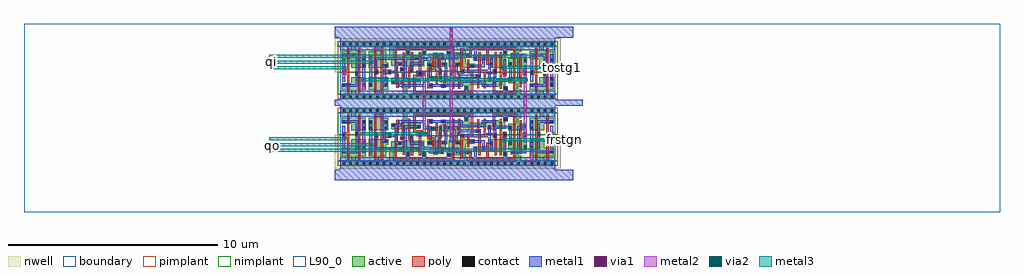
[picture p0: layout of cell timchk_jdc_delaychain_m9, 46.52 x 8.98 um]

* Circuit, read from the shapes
.subckt timchk_jdc_delaychain_m9 VDD VSS clk di do frstgn qi qo rstL tostg1
M1 VSS rstL n1 VSS nfet w=0.3u l=0.1u
M2 VSS clk n2 VSS nfet w=0.3u l=0.1u
M3 DFCSND1_delaychain_m9_4/CDN n1 VSS VSS nfet w=0.6u l=0.1u
M4 DFCSND1_delaychain_m9_4/CP n2 VSS VSS nfet w=0.6u l=0.1u
M5 VSS n3 qo VSS nfet w=0.6u l=0.1u
M6 VSS n4 qi VSS nfet w=0.6u l=0.1u
M7 DFCSND1_delaychain_m9_5/QN n5 VSS VSS nfet w=0.6u l=0.1u
M8 DFCSND1_delaychain_m9_4/QN n6 VSS VSS nfet w=0.6u l=0.1u
M9 n7 DFCSND1_delaychain_m9_4/SDN n5 VSS nfet w=0.3u l=0.1u
M10 n8 DFCSND1_delaychain_m9_4/SDN n6 VSS nfet w=0.3u l=0.1u
M11 VSS n3 n7 VSS nfet w=0.3u l=0.1u
M12 VSS n4 n8 VSS nfet w=0.3u l=0.1u
M13 n9 n10 VSS VSS nfet w=0.3u l=0.1u
M14 n11 n12 VSS VSS nfet w=0.3u l=0.1u
M15 n3 DFCSND1_delaychain_m9_4/CDN n9 VSS nfet w=0.3u l=0.1u
M16 n4 DFCSND1_delaychain_m9_4/CDN n11 VSS nfet w=0.3u l=0.1u
M17 n10 n13 n5 VSS nfet w=0.2u l=0.1u
M18 n12 n14 n6 VSS nfet w=0.2u l=0.1u
M19 n15 n16 n10 VSS nfet w=0.3u l=0.1u
M20 n17 n18 n12 VSS nfet w=0.3u l=0.1u
M21 n19 DFCSND1_delaychain_m9_4/SDN n15 VSS nfet w=0.39u l=0.1u
M22 n20 DFCSND1_delaychain_m9_4/SDN n17 VSS nfet w=0.39u l=0.1u
M23 VSS n21 n19 VSS nfet w=0.39u l=0.1u
M24 VSS n22 n20 VSS nfet w=0.39u l=0.1u
M25 n23 DFCSND1_delaychain_m9_4/CDN VSS VSS nfet w=0.2u l=0.1u
M26 n24 DFCSND1_delaychain_m9_4/CDN VSS VSS nfet w=0.2u l=0.1u
M27 n25 n15 n23 VSS nfet w=0.2u l=0.1u
M28 n26 n17 n24 VSS nfet w=0.2u l=0.1u
M29 n21 n16 n25 VSS nfet w=0.2u l=0.1u
M30 n22 n18 n26 VSS nfet w=0.2u l=0.1u
M31 n27 n13 n21 VSS nfet w=0.3u l=0.1u
M32 n28 n14 n22 VSS nfet w=0.3u l=0.1u
M33 VSS frstgn n27 VSS nfet w=0.3u l=0.1u
M34 VSS tostg1 n28 VSS nfet w=0.3u l=0.1u
M35 VSS n13 n16 VSS nfet w=0.3u l=0.1u
M36 VSS n14 n18 VSS nfet w=0.3u l=0.1u
M37 n13 DFCSND1_delaychain_m9_4/CP VSS VSS nfet w=0.3u l=0.1u
M38 n14 DFCSND1_delaychain_m9_4/CP VSS VSS nfet w=0.3u l=0.1u
M39 VSS di n29 VSS nfet w=0.3u l=0.1u
M40 VSS n30 do VSS nfet w=0.6u l=0.1u
M41 tostg1 n29 VSS VSS nfet w=0.6u l=0.1u
M42 n30 frstgn VSS VSS nfet w=0.3u l=0.1u
M43 VDD rstL n1 VDD pfet w=0.4u l=0.1u
M44 DFCSND1_delaychain_m9_4/SDN clk n2 DFCSND1_delaychain_m9_4/SDN pfet w=0.4u l=0.1u
M45 DFCSND1_delaychain_m9_4/CDN n1 VDD VDD pfet w=0.8u l=0.1u
M46 DFCSND1_delaychain_m9_4/CP n2 DFCSND1_delaychain_m9_4/SDN DFCSND1_delaychain_m9_4/SDN pfet w=0.8u l=0.1u
M47 VDD n3 qo VDD pfet w=0.8u l=0.1u
M48 DFCSND1_delaychain_m9_4/SDN n4 qi DFCSND1_delaychain_m9_4/SDN pfet w=0.8u l=0.1u
M49 DFCSND1_delaychain_m9_5/QN n5 VDD VDD pfet w=0.8u l=0.1u
M50 DFCSND1_delaychain_m9_4/QN n6 DFCSND1_delaychain_m9_4/SDN DFCSND1_delaychain_m9_4/SDN pfet w=0.8u l=0.1u
M51 n5 DFCSND1_delaychain_m9_4/SDN VDD VDD pfet w=0.45u l=0.1u
M52 n6 DFCSND1_delaychain_m9_4/SDN DFCSND1_delaychain_m9_4/SDN DFCSND1_delaychain_m9_4/SDN pfet w=0.45u l=0.1u
M53 VDD n3 n5 VDD pfet w=0.45u l=0.1u
M54 DFCSND1_delaychain_m9_4/SDN n4 n6 DFCSND1_delaychain_m9_4/SDN pfet w=0.45u l=0.1u
M55 n3 n10 VDD VDD pfet w=0.5u l=0.1u
M56 n4 n12 DFCSND1_delaychain_m9_4/SDN DFCSND1_delaychain_m9_4/SDN pfet w=0.5u l=0.1u
M57 VDD DFCSND1_delaychain_m9_4/CDN n3 VDD pfet w=0.5u l=0.1u
M58 DFCSND1_delaychain_m9_4/SDN DFCSND1_delaychain_m9_4/CDN n4 DFCSND1_delaychain_m9_4/SDN pfet w=0.5u l=0.1u
M59 n10 n16 n5 VDD pfet w=0.22u l=0.1u
M60 n12 n18 n6 DFCSND1_delaychain_m9_4/SDN pfet w=0.22u l=0.1u
M61 n15 n13 n10 VDD pfet w=0.34u l=0.1u
M62 n17 n14 n12 DFCSND1_delaychain_m9_4/SDN pfet w=0.34u l=0.1u
M63 n15 DFCSND1_delaychain_m9_4/SDN VDD VDD pfet w=0.7u l=0.1u
M64 n17 DFCSND1_delaychain_m9_4/SDN DFCSND1_delaychain_m9_4/SDN DFCSND1_delaychain_m9_4/SDN pfet w=0.7u l=0.1u
M65 VDD n21 n15 VDD pfet w=0.7u l=0.1u
M66 DFCSND1_delaychain_m9_4/SDN n22 n17 DFCSND1_delaychain_m9_4/SDN pfet w=0.7u l=0.1u
M67 n31 DFCSND1_delaychain_m9_4/CDN VDD VDD pfet w=0.2u l=0.1u
M68 n32 DFCSND1_delaychain_m9_4/CDN DFCSND1_delaychain_m9_4/SDN DFCSND1_delaychain_m9_4/SDN pfet w=0.2u l=0.1u
M69 n31 n15 VDD VDD pfet w=0.22u l=0.1u
M70 n32 n17 DFCSND1_delaychain_m9_4/SDN DFCSND1_delaychain_m9_4/SDN pfet w=0.22u l=0.1u
M71 n21 n13 n31 VDD pfet w=0.24u l=0.1u
M72 n22 n14 n32 DFCSND1_delaychain_m9_4/SDN pfet w=0.24u l=0.1u
M73 n33 n16 n21 VDD pfet w=0.57u l=0.1u
M74 n34 n18 n22 DFCSND1_delaychain_m9_4/SDN pfet w=0.57u l=0.1u
M75 VDD frstgn n33 VDD pfet w=0.57u l=0.1u
M76 DFCSND1_delaychain_m9_4/SDN tostg1 n34 DFCSND1_delaychain_m9_4/SDN pfet w=0.57u l=0.1u
M77 VDD n13 n16 VDD pfet w=0.4u l=0.1u
M78 DFCSND1_delaychain_m9_4/SDN n14 n18 DFCSND1_delaychain_m9_4/SDN pfet w=0.4u l=0.1u
M79 n13 DFCSND1_delaychain_m9_4/CP VDD VDD pfet w=0.45u l=0.1u
M80 n14 DFCSND1_delaychain_m9_4/CP DFCSND1_delaychain_m9_4/SDN DFCSND1_delaychain_m9_4/SDN pfet w=0.45u l=0.1u
M81 DFCSND1_delaychain_m9_4/SDN di n29 DFCSND1_delaychain_m9_4/SDN pfet w=0.4u l=0.1u
M82 VDD n30 do VDD pfet w=0.8u l=0.1u
M83 tostg1 n29 DFCSND1_delaychain_m9_4/SDN DFCSND1_delaychain_m9_4/SDN pfet w=0.8u l=0.1u
M84 n30 frstgn VDD VDD pfet w=0.4u l=0.1u
.ends

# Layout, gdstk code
from math import pi, radians
import gdstk
lib = gdstk.Library(unit=1e-6, precision=1e-09)
def R(c, l, rs):  # rectangles x0, y0, x1, y1
    for r in rs: c.add(gdstk.rectangle(r[:2], r[2:], *l))
def A(c, l, x, y, w, h, nx, ny, dx, dy):  # array of equal rectangles
    R(c, l, [(x+i*dx, y+j*dy, x+i*dx+w, y+j*dy+h) for i in range(nx) for j in range(ny)])
def P(c, l, *ps):  # polygons
    for p in ps: c.add(gdstk.Polygon(p, *l))
nwell = (3, 0)
active = (6, 0)
poly = (17, 0)
pimplant = (25, 0)
nimplant = (26, 0)
contact = (30, 0)
metal1 = (31, 0)
metal2 = (32, 0)
metal3 = (33, 0)
via1 = (51, 0)
via2 = (52, 0)
L90_0 = (90, 0)
boundary = (108, 0)

buffd1_delaychain_m9 = lib.new_cell('BUFFD1_delaychain_m9')
R(buffd1_delaychain_m9, nwell, [(-0.27,1.16,1.55,2.79)])
P(buffd1_delaychain_m9, active, [(0,-0.1),(1.28,-0.1),(1.28,0.1),(0.74,0.1),(0.74,0.34),(1.21,0.34),(1.21,0.94),(0.52,0.94),(0.52,0.64),(0.07,0.64),(0.07,0.34),(0.52,0.34),(0.52,0.1),(0,0.1)],
  [(0,2.42),(0.52,2.42),(0.52,2.18),(0.07,2.18),(0.07,1.78),(0.52,1.78),(0.52,1.38),(1.21,1.38),(1.21,2.18),(0.74,2.18),(0.74,2.42),(1.28,2.42),(1.28,2.62),(0,2.62)])
P(buffd1_delaychain_m9, poly, [(0.08,1.05),(0.32,1.05),(0.32,0.18),(0.42,0.18),(0.42,2.34),(0.32,2.34),(0.32,1.27),(0.08,1.27)],
  [(0.71,1.01),(0.85,1.01),(0.85,0.18),(0.95,0.18),(0.95,2.34),(0.85,2.34),(0.85,1.23),(0.71,1.23)])
R(buffd1_delaychain_m9, pimplant, [(-0.13,-0.12,1.41,0.12), (-0.13,1.16,1.41,2.4)])
R(buffd1_delaychain_m9, nimplant, [(-0.13,0.12,1.41,1.16), (-0.13,2.4,1.41,2.64)])
A(buffd1_delaychain_m9, contact, 0.1, -0.06, 0.12, 0.12, 4, 2, 0.32, 2.52)
R(buffd1_delaychain_m9, contact, [(0.12,0.47,0.24,0.59), (1.04,0.52,1.16,0.64), (1.04,0.78,1.16,0.9), (0.74,1.06,0.86,1.18), (0.11,1.1,0.23,1.22), (1.04,1.43,1.16,1.55), (1.04,1.69,1.16,1.81), (0.12,1.93,0.24,2.05)])
R(buffd1_delaychain_m9, metal1, [(0,-0.3,1.28,0.3), (1.04,0.47,1.19,2.02), (0.09,0.725,0.23,1.795), (0,2.22,1.28,2.82)])
P(buffd1_delaychain_m9, metal1, [(0.07,0.47),(0.86,0.47),(0.86,2.05),(0.07,2.05),(0.07,1.93),(0.74,1.93),(0.74,0.59),(0.07,0.59)])
R(buffd1_delaychain_m9, L90_0, [(0,0.12,1.28,2.4)])
R(buffd1_delaychain_m9, boundary, [(0,0,1.28,2.52)])
buffd1_delaychain_m9.add(gdstk.Label('VDD', (0.16,2.52), layer=131, texttype=0))
buffd1_delaychain_m9.add(gdstk.Label('VSS', (0.16,0), layer=131, texttype=0))
buffd1_delaychain_m9.add(gdstk.Label('I', (0.16,1.4), layer=131, texttype=0))
buffd1_delaychain_m9.add(gdstk.Label('Z', (1.12,1.4), layer=131, texttype=0))
buffd1_delaychain_m9.add(gdstk.Label('BUFFLLD1', (0,0), layer=127, texttype=0))

dfcsnd1_delaychain_m9 = lib.new_cell('DFCSND1_delaychain_m9')
P(dfcsnd1_delaychain_m9, nwell, [(-0.27,1.16),(3.37,1.16),(3.37,1.21),(4.93,1.21),(4.93,1.16),(7.95,1.16),(7.95,2.79),(-0.27,2.79)])
P(dfcsnd1_delaychain_m9, active, [(3.93,1.44),(4.82,1.44),(4.82,1.66),(4.43,1.66),(4.43,1.89),(4.54,1.89),(4.54,2.1),(4.32,2.1),(4.32,1.78),(3.93,1.78)],
  [(1.01,1.97),(1.1,1.97),(1.1,1.38),(1.85,1.38),(1.85,1.71),(2.23,1.71),(2.23,1.73),(2.62,1.73),(2.62,1.95),(1.21,1.95),(1.21,2.19),(1.01,2.19)],
  [(0.99,0.3),(1.21,0.3),(1.21,0.57),(1.42,0.57),(1.42,0.47),(1.99,0.47),(1.99,0.58),(2.83,0.58),(2.83,0.3),(3.05,0.3),(3.05,0.55),(3.88,0.55),(3.88,0.69),(4.22,0.69),(4.22,0.77),(4.67,0.77),(4.67,0.97),(4.22,0.97),(4.22,0.99),(3.71,0.99),(3.71,0.94),(2.83,0.94),(2.83,0.78),(1.97,0.78),(1.97,0.93),(1.75,0.93),(1.75,0.77),(1.54,0.77),(1.54,0.87),(1.1,0.87),(1.1,0.5),(0.99,0.5)],
  [(0,-0.1),(7.68,-0.1),(7.68,0.1),(7.21,0.1),(7.21,0.34),(7.61,0.34),(7.61,0.94),(6.68,0.94),(6.68,0.34),(7.08,0.34),(7.08,0.1),(6,0.1),(6,0.37),(5.89,0.37),(5.89,0.6),(6.54,0.6),(6.54,0.9),(5.78,0.9),(5.78,0.88),(5.13,0.88),(5.13,0.58),(5.78,0.58),(5.78,0.1),(0.57,0.1),(0.57,0.64),(0.96,0.64),(0.96,0.94),(0.07,0.94),(0.07,0.64),(0.46,0.64),(0.46,0.37),(0.35,0.37),(0.35,0.1),(0,0.1)],
  [(0,2.42),(0.35,2.42),(0.35,2.15),(0.46,2.15),(0.46,1.88),(0.07,1.88),(0.07,1.43),(0.96,1.43),(0.96,1.83),(0.57,1.83),(0.57,2.42),(2.89,2.42),(2.89,2.205),(2.98,2.205),(2.98,1.58),(2.56,1.58),(2.56,1.38),(3.09,1.38),(3.09,1.43),(3.79,1.43),(3.79,1.98),(3.9,1.98),(3.9,2.2),(3.68,2.2),(3.68,2.13),(3.09,2.13),(3.09,2.42),(6.43,2.42),(6.43,1.92),(5.85,1.92),(5.85,2.22),(5.65,2.22),(5.65,1.95),(5.07,1.95),(5.07,2.2),(4.87,2.2),(4.87,1.98),(4.96,1.98),(4.96,1.45),(5.85,1.45),(5.85,1.47),(6.54,1.47),(6.54,1.77),(6.63,1.77),(6.63,2.42),(7.1,2.42),(7.1,2.18),(6.77,2.18),(6.77,1.63),(6.68,1.63),(6.68,1.38),(7.61,1.38),(7.61,2.18),(7.21,2.18),(7.21,2.42),(7.68,2.42),(7.68,2.62),(0,2.62)])
P(dfcsnd1_delaychain_m9, poly, [(0.08,1.06),(0.31,1.06),(0.31,0.46),(0.41,0.46),(0.41,2.06),(0.31,2.06),(0.31,1.28),(0.08,1.28)],
  [(1.04,1.06),(1.26,1.06),(1.26,0.39),(1.36,0.39),(1.36,2.13),(1.26,2.13),(1.26,1.28),(1.04,1.28)],
  [(1.51,1.09),(2.04,1.09),(2.04,0.4),(2.14,0.4),(2.14,1.19),(1.69,1.19),(1.69,1.31),(1.61,1.31),(1.61,2.13),(1.51,2.13)],
  [(2.28,0.89),(2.34,0.89),(2.34,0.42),(2.44,0.42),(2.44,0.89),(2.5,0.89),(2.5,1.07),(2.38,1.07),(2.38,2.13),(2.28,2.13)],
  [(0.62,0.15),(1.69,0.15),(1.69,0.95),(1.59,0.95),(1.59,0.25),(0.72,0.25),(0.72,1.9),(0.84,1.9),(0.84,2.08),(0.72,2.08),(0.72,2.27),(1.9,2.27),(1.9,1.53),(2,1.53),(2,2.27),(2.71,2.27),(2.71,1.9),(2.93,1.9),(2.93,2.08),(2.81,2.08),(2.81,2.37),(0.62,2.37)],
  [(3.05,1.11),(3.24,1.11),(3.24,0.39),(3.34,0.39),(3.34,1.21),(3.25,1.21),(3.25,1.33),(3.24,1.33),(3.24,2.31),(3.14,2.31),(3.14,1.33),(3.05,1.33)],
  [(3.93,0.44),(4.15,0.44),(4.15,0.62),(4.03,0.62),(4.03,1.15),(3.93,1.15)],
  [(4.04,1.83),(4.17,1.83),(4.17,1.04),(4.32,1.04),(4.32,0.59),(4.42,0.59),(4.42,1.14),(4.27,1.14),(4.27,2.07),(4.04,2.07)],
  [(4.48,1.28),(4.72,1.28),(4.72,0.64),(4.56,0.64),(4.56,0.42),(4.82,0.42),(4.82,1.38),(4.58,1.38),(4.58,1.84),(4.48,1.84)],
  [(2.64,0.15),(5.48,0.15),(5.48,1.04),(5.28,1.04),(5.28,1.23),(5.22,1.23),(5.22,2.13),(5.12,2.13),(5.12,1.23),(5.06,1.23),(5.06,0.94),(5.38,0.94),(5.38,0.25),(2.74,0.25),(2.74,1.115),(2.91,1.115),(2.91,1.76),(2.81,1.76),(2.81,1.215),(2.64,1.215)],
  [(5.5,1.18),(5.63,1.18),(5.63,0.4),(5.73,0.4),(5.73,1.4),(5.6,1.4),(5.6,2.13),(5.5,2.13)],
  [(5.9,1.22),(5.94,1.22),(5.94,0.42),(6.04,0.42),(6.04,1.22),(6.12,1.22),(6.12,1.4),(6,1.4),(6,2.1),(5.9,2.1)],
  [(3.53,1.06),(3.54,1.06),(3.54,0.39),(3.64,0.39),(3.64,1.06),(3.76,1.06),(3.76,1.28),(3.63,1.28),(3.63,2.27),(6.28,2.27),(6.28,1.08),(6.19,1.08),(6.19,0.44),(6.29,0.44),(6.29,0.98),(6.38,0.98),(6.38,2.37),(3.53,2.37)],
  [(6.54,1.08),(6.93,1.08),(6.93,0.16),(7.03,0.16),(7.03,2.36),(6.93,2.36),(6.93,1.3),(6.54,1.3)],
  [(7.17,1.08),(7.26,1.08),(7.26,0.16),(7.36,0.16),(7.36,2.36),(7.26,2.36),(7.26,1.3),(7.17,1.3)])
R(dfcsnd1_delaychain_m9, pimplant, [(-0.13,-0.12,7.81,0.12)])
P(dfcsnd1_delaychain_m9, pimplant, [(-0.13,1.16),(3.37,1.16),(3.37,1.21),(4.93,1.21),(4.93,1.16),(7.81,1.16),(7.81,2.4),(-0.13,2.4)])
R(dfcsnd1_delaychain_m9, nimplant, [(-0.13,2.4,7.81,2.64)])
P(dfcsnd1_delaychain_m9, nimplant, [(-0.13,0.12),(7.81,0.12),(7.81,1.16),(4.93,1.16),(4.93,1.21),(3.37,1.21),(3.37,1.16),(-0.13,1.16)])
A(dfcsnd1_delaychain_m9, contact, 0.1, -0.06, 0.12, 0.12, 24, 2, 0.32, 2.52)
R(dfcsnd1_delaychain_m9, contact, [(1.04,0.34,1.16,0.46), (2.88,0.35,3,0.47), (3.98,0.47,4.1,0.59), (4.59,0.47,4.71,0.59), (6.73,0.52,6.85,0.64), (7.44,0.52,7.56,0.64), (6.37,0.65,6.49,0.77), (0.11,0.69,0.23,0.81), (5.18,0.71,5.3,0.83), (1.8,0.76,1.92,0.88), (3.73,0.765,3.85,0.885), (0.8,0.77,0.92,0.89), (6.73,0.78,6.85,0.9), (7.44,0.78,7.56,0.9), (4.12,0.81,4.24,0.93), (4.5,0.81,4.62,0.93), (2.33,0.92,2.45,1.04), (5.11,1.06,5.23,1.18), (0.11,1.11,0.23,1.23), (1.07,1.11,1.19,1.23), (3.61,1.11,3.73,1.23), (6.57,1.13,6.69,1.25), (7.2,1.13,7.32,1.25), (1.54,1.14,1.66,1.26), (3.08,1.16,3.2,1.28), (5.53,1.23,5.65,1.35), (5.95,1.25,6.07,1.37), (2.61,1.42,2.73,1.54), (6.73,1.43,6.85,1.55), (0.8,1.48,0.92,1.6), (4.66,1.49,4.78,1.61), (3.32,1.5,3.44,1.62), (3.97,1.5,4.09,1.62), (1.69,1.51,1.81,1.63), (6.08,1.52,6.2,1.64), (7.44,1.52,7.56,1.64), (0.11,1.7,0.23,1.82), (5.3,1.76,5.42,1.88), (1.69,1.77,1.81,1.89), (2.08,1.78,2.2,1.9), (2.46,1.78,2.58,1.9), (7.44,1.84,7.56,1.96), (4.07,1.88,4.19,2), (0.67,1.93,0.79,2.05), (2.76,1.93,2.88,2.05), (4.37,1.93,4.49,2.05), (1.05,2.02,1.17,2.14), (3.73,2.03,3.85,2.15), (4.91,2.03,5.03,2.15), (5.69,2.05,5.81,2.17)])
R(dfcsnd1_delaychain_m9, metal1, [(7.44,0.47,7.59,2.01), (0.09,1.005,0.23,1.515), (1.05,1.005,1.19,1.795), (3.61,1.005,3.75,1.515), (4.89,1.005,5.35,1.235)])
P(dfcsnd1_delaychain_m9, metal1, [(0.11,0.64),(0.23,0.64),(0.23,0.74),(0.54,0.74),(0.54,1.93),(0.84,1.93),(0.84,2.05),(0.11,2.05),(0.11,1.65),(0.23,1.65),(0.23,1.93),(0.42,1.93),(0.42,0.86),(0.11,0.86)],
  [(1.69,1.46),(1.8,1.46),(1.8,0.71),(1.92,0.71),(1.92,1.16),(3.25,1.16),(3.25,1.28),(1.92,1.28),(1.92,1.58),(1.81,1.58),(1.81,1.94),(1.69,1.94)],
  [(2.08,1.42),(2.785,1.42),(2.785,1.54),(2.2,1.54),(2.2,1.95),(2.08,1.95)],
  [(0,-0.3),(7.68,-0.3),(7.68,0.3),(3,0.3),(3,0.52),(2.88,0.52),(2.88,0.3),(1.21,0.3),(1.21,0.51),(0.99,0.51),(0.99,0.3),(0,0.3)],
  [(0.8,0.72),(1.54,0.72),(1.54,0.47),(2.23,0.47),(2.23,0.68),(3.12,0.68),(3.12,0.47),(4.76,0.47),(4.76,0.59),(3.24,0.59),(3.24,0.8),(2.11,0.8),(2.11,0.59),(1.66,0.59),(1.66,1.31),(1.54,1.31),(1.54,0.84),(0.92,0.84),(0.92,1.65),(0.8,1.65)],
  [(2.28,0.92),(3.37,0.92),(3.37,0.765),(4,0.765),(4,1.5),(4.14,1.5),(4.14,1.62),(3.88,1.62),(3.88,0.885),(3.49,0.885),(3.49,1.62),(3.27,1.62),(3.27,1.5),(3.37,1.5),(3.37,1.04),(2.28,1.04)],
  [(2.71,1.93),(3.34,1.93),(3.34,1.78),(4.19,1.78),(4.19,2.05),(4.07,2.05),(4.07,1.9),(3.46,1.9),(3.46,2.05),(2.71,2.05)],
  [(4.12,0.76),(4.24,0.76),(4.24,1.21),(4.43,1.21),(4.43,1.93),(4.62,1.93),(4.62,1.73),(5.01,1.73),(5.01,1.52),(5.53,1.52),(5.53,1.18),(5.65,1.18),(5.65,1.64),(5.13,1.64),(5.13,1.85),(4.74,1.85),(4.74,2.05),(4.31,2.05),(4.31,1.33),(4.12,1.33)],
  [(0,2.22),(1.05,2.22),(1.05,1.97),(1.17,1.97),(1.17,2.22),(2.46,2.22),(2.46,1.73),(2.58,1.73),(2.58,2.22),(3.68,2.22),(3.68,2.03),(3.9,2.03),(3.9,2.22),(4.91,2.22),(4.91,1.98),(5.03,1.98),(5.03,2.22),(5.69,2.22),(5.69,2),(5.81,2),(5.81,2.22),(7.68,2.22),(7.68,2.82),(0,2.82)],
  [(4.45,0.81),(4.6,0.81),(4.6,0.765),(4.89,0.765),(4.89,0.47),(6.18,0.47),(6.18,0.65),(6.54,0.65),(6.54,0.77),(6.36,0.77),(6.36,1.13),(6.54,1.13),(6.54,1.08),(6.69,1.08),(6.69,1.3),(6.54,1.3),(6.54,1.25),(6.36,1.25),(6.36,1.64),(6.03,1.64),(6.03,1.52),(6.24,1.52),(6.24,0.77),(6.06,0.77),(6.06,0.59),(5.01,0.59),(5.01,0.885),(4.72,0.885),(4.72,1.49),(4.83,1.49),(4.83,1.61),(4.6,1.61),(4.6,0.93),(4.45,0.93)],
  [(6.68,1.43),(6.81,1.43),(6.81,0.95),(6.73,0.95),(6.73,0.47),(6.95,0.47),(6.95,1.55),(6.68,1.55)],
  [(5.13,0.71),(5.91,0.71),(5.91,1.25),(6.12,1.25),(6.12,1.37),(5.91,1.37),(5.91,1.76),(7.2,1.76),(7.2,1.08),(7.32,1.08),(7.32,1.88),(5.25,1.88),(5.25,1.76),(5.79,1.76),(5.79,0.83),(5.13,0.83)])
R(dfcsnd1_delaychain_m9, L90_0, [(0,0.12,7.68,2.4)])
R(dfcsnd1_delaychain_m9, boundary, [(0,0,7.68,2.52)])
dfcsnd1_delaychain_m9.add(gdstk.Label('CP', (0.16,1.12), layer=131, texttype=0))
dfcsnd1_delaychain_m9.add(gdstk.Label('SDN', (3.68,1.12), layer=131, texttype=0))
dfcsnd1_delaychain_m9.add(gdstk.Label('Q', (7.52,1.68), layer=131, texttype=0))
dfcsnd1_delaychain_m9.add(gdstk.Label('CDN', (4.96,1.12), layer=131, texttype=0))
dfcsnd1_delaychain_m9.add(gdstk.Label('QN', (6.88,1.4), layer=131, texttype=0))
dfcsnd1_delaychain_m9.add(gdstk.Label('D', (1.12,1.12), layer=131, texttype=0))
dfcsnd1_delaychain_m9.add(gdstk.Label('VSS', (0.16,0), layer=131, texttype=0))
dfcsnd1_delaychain_m9.add(gdstk.Label('VDD', (0.16,2.52), layer=131, texttype=0))
dfcsnd1_delaychain_m9.add(gdstk.Label('DFCSNLLD1', (0,0), layer=127, texttype=0))

timchk_jdc_delaychain_m9 = lib.new_cell('timchk_jdc_delaychain_m9')
R(timchk_jdc_delaychain_m9, metal1, [(10.21,-3.655,21.56,-3.145), (10.21,-0.095,22.025,0.175), (10.21,3.145,21.56,3.655)])
R(timchk_jdc_delaychain_m9, metal2, [(19.525,-2.715,19.665,-2.115), (11.845,-2.435,11.985,-1.835), (18.24,-2.21,18.38,-1.61), (20.48,-2.21,20.62,-1.61), (10.56,-2.16,10.7,-1.555), (11.515,-1.93,11.655,-1.33), (19.2,-1.84,19.34,1.735), (14.4,-1.56,14.54,1.56), (15.68,-1.56,15.82,3.625), (11.515,0.655,11.655,1.255), (14.4,0.96,14.54,1.56), (10.56,1.215,10.7,1.815), (18.24,1.25,18.38,1.85), (20.475,1.25,20.615,1.85), (11.845,1.495,11.985,2.095), (19.52,1.595,19.66,2.375)])
R(timchk_jdc_delaychain_m9, metal3, [(7.07,-2.3,19.975,-2.16), (7.07,-2.02,12.035,-1.88), (18.195,-1.795,21.36,-1.655), (7.07,-1.74,10.745,-1.6), (11.47,-1.515,14.585,-1.375), (11.47,1.07,19.39,1.21), (7.07,1.63,10.745,1.77), (18.19,1.665,21.49,1.805), (7.07,1.91,12.045,2.05), (7.07,2.19,19.705,2.33)])
A(timchk_jdc_delaychain_m9, via1, 15.685, 2.595, 0.13, 0.13, 1, 3, 0, 0.28)
R(timchk_jdc_delaychain_m9, via1, [(19.53,-2.295,19.66,-2.165), (11.85,-2.015,11.98,-1.885), (18.245,-1.79,18.375,-1.66), (20.485,-1.79,20.615,-1.66), (10.565,-1.735,10.695,-1.605), (19.205,-1.535,19.335,-1.405), (11.52,-1.51,11.65,-1.38), (14.405,-1.51,14.535,-1.38), (15.685,-1.51,15.815,-1.38), (11.52,1.075,11.65,1.205), (14.405,1.38,14.535,1.51), (15.685,1.38,15.815,1.51), (19.205,1.475,19.335,1.605), (10.565,1.635,10.695,1.765), (19.525,1.66,19.655,1.79), (18.245,1.67,18.375,1.8), (20.48,1.67,20.61,1.8), (11.85,1.915,11.98,2.045), (15.685,3.155,15.815,3.285), (15.685,3.435,15.815,3.565)])
R(timchk_jdc_delaychain_m9, via2, [(19.53,-2.295,19.66,-2.165), (11.85,-2.015,11.98,-1.885), (18.245,-1.79,18.375,-1.66), (20.485,-1.79,20.615,-1.66), (10.565,-1.735,10.695,-1.605), (11.52,-1.51,11.65,-1.38), (14.405,-1.51,14.535,-1.38), (11.52,1.075,11.65,1.205), (19.205,1.075,19.335,1.205), (10.565,1.635,10.695,1.765), (18.245,1.67,18.375,1.8), (20.48,1.67,20.61,1.8), (11.85,1.915,11.98,2.045), (19.525,2.195,19.655,2.325)])
R(timchk_jdc_delaychain_m9, boundary, [(-4.615,-5.175,41.91,3.805)])
timchk_jdc_delaychain_m9.add(gdstk.Reference(buffd1_delaychain_m9, (20.71,-0.325), rotation=pi))
timchk_jdc_delaychain_m9.add(gdstk.Reference(buffd1_delaychain_m9, (10.47,0.325)))
timchk_jdc_delaychain_m9.add(gdstk.Reference(buffd1_delaychain_m9, (19.43,0.325)))
timchk_jdc_delaychain_m9.add(gdstk.Reference(buffd1_delaychain_m9, (10.47,-0.325), x_reflection=True))
timchk_jdc_delaychain_m9.add(gdstk.Reference(dfcsnd1_delaychain_m9, (19.43,0.325), rotation=pi, x_reflection=True))
timchk_jdc_delaychain_m9.add(gdstk.Reference(dfcsnd1_delaychain_m9, (19.43,-0.325), rotation=pi))
timchk_jdc_delaychain_m9.add(gdstk.Label('qi', (7.195,1.989), layer=133, texttype=0))
timchk_jdc_delaychain_m9.add(gdstk.Label('qo', (7.219,-1.983), layer=133, texttype=0))
timchk_jdc_delaychain_m9.add(gdstk.Label('do', (7.238,-2.219), layer=133, texttype=0))
timchk_jdc_delaychain_m9.add(gdstk.Label('frstgn', (21.156,-1.701), layer=133, texttype=0))
timchk_jdc_delaychain_m9.add(gdstk.Label('di', (7.263,2.264), layer=133, texttype=0))
timchk_jdc_delaychain_m9.add(gdstk.Label('tostg1', (21.034,1.738), layer=133, texttype=0))
timchk_jdc_delaychain_m9.add(gdstk.Label('clk', (7.357,1.729), layer=133, texttype=0))
timchk_jdc_delaychain_m9.add(gdstk.Label('rstL', (7.346,-1.723), layer=133, texttype=0))

lib.write_gds('timchk_jdc_delaychain_m9.gds')
